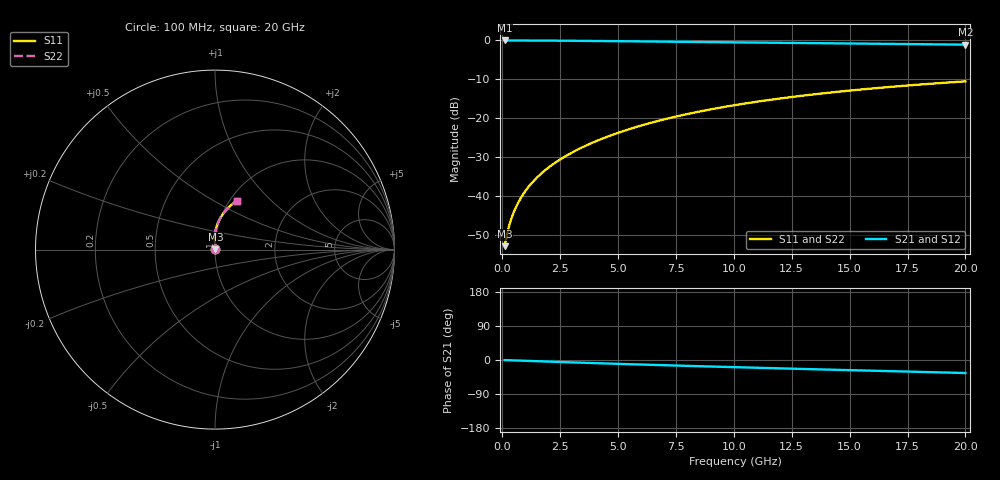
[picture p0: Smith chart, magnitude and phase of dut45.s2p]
! Touchstone file exported from HFSS 2024.1.0
!  File:  C:/UserFiles/LocalFiles/RDL_TSV_Batchsim/temp_RDL_bottom_45_1778692765.aedt
!  Generated:  01:21:52 AM May 14, 2026
!  Design:  RDL_bottom
!  Project:  temp_RDL_bottom_45_1778692765
!  Setup:  Setup1
!  Solution:  Sweep
! Variables:
!  dtsv = 10.80580581um
!  hbump = 3um
!  htsv = 62.92um
!  ldown = 485.28um
!  lrdl = 100um
!  p = 40
!  p1 = 56.4um
!  rhole = 1um
!  t = 450um
!  tdown = 3.68um
!  trdl = 3.915915916um
!  wdown = 29.08um
!  wrdl = 20um
# GHz S MA R 50.000000
! Terminal data exported
! Port[1] = RDL1_T1
! Port[2] = RDL1_T2
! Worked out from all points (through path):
!   200 points, 100 MHz to 20 GHz, reference 50 ohm
!   highest |S21| = -0.02 dB at 100 MHz (marker M1); lowest = -1.1 dB at 20 GHz (marker M2)
!   group delay of S21, straight-line fit = 4.69 ps
!   lowest |S11| = -52.8 dB at 100 MHz (marker M3), VSWR 1.00, Z = 50.2 + j0.132 ohm
!   |S11| at or under -10 dB: start of sweep to end of sweep
!   |S22| runs from -52.8 to -10.5 dB; largest |S21 - S12| = 6.2e-15
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0.1  0.002278 35.4  0.9981 -0.2  0.9981 -0.2  0.002278 35.4
! Gamma 0 0 0 0
! Port Impedance 50 0 50 0
0.2  0.00322 52.0  0.998 -0.4  0.998 -0.4  0.00322 52.0
0.3  0.004223 60.5  0.9978 -0.7  0.9978 -0.7  0.004223 60.5
0.4  0.005238 66.0  0.9976 -0.9  0.9976 -0.9  0.005238 66.0
0.5  0.006269 69.9  0.9975 -1.1  0.9975 -1.1  0.006269 69.9
0.6  0.007319 73.0  0.9973 -1.3  0.9973 -1.3  0.007319 73.0
0.8  0.009468 77.4  0.9969 -1.7  0.9969 -1.7  0.009468 77.4
1.1  0.01279 81.5  0.9963 -2.4  0.9963 -2.4  0.01279 81.5
1.3  0.01507 83.4  0.9958 -2.8  0.9958 -2.8  0.01507 83.4
1.6  0.01856 85.5  0.995 -3.4  0.995 -3.4  0.01856 85.6
2.1  0.02459 88.0  0.9932 -4.5  0.9932 -4.5  0.0246 88.0
2.7  0.0322 89.7  0.9905 -5.7  0.9905 -5.7  0.0322 89.8
3.5  0.04299 91.0  0.9863 -7.3  0.9863 -7.3  0.04299 91.0
4.2  0.05299 91.4  0.9821 -8.7  0.9821 -8.7  0.053 91.4
5  0.06501 91.3  0.977 -10.2  0.977 -10.2  0.06501 91.3
6.8  0.09367 89.5  0.965 -13.4  0.965 -13.4  0.09368 89.5
8.4  0.1201 87.0  0.9543 -16.2  0.9543 -16.2  0.1201 87.0
10.1  0.1484 83.9  0.9432 -19.0  0.9432 -19.0  0.1484 83.9
11.7  0.1747 80.8  0.933 -21.6  0.933 -21.6  0.1747 80.8
13.4  0.2019 77.6  0.9224 -24.3  0.9224 -24.3  0.202 77.6
16.7  0.252 71.5  0.9021 -29.4  0.9021 -29.4  0.2521 71.5
20  0.2979 65.7  0.8818 -34.3  0.8818 -34.3  0.298 65.7
